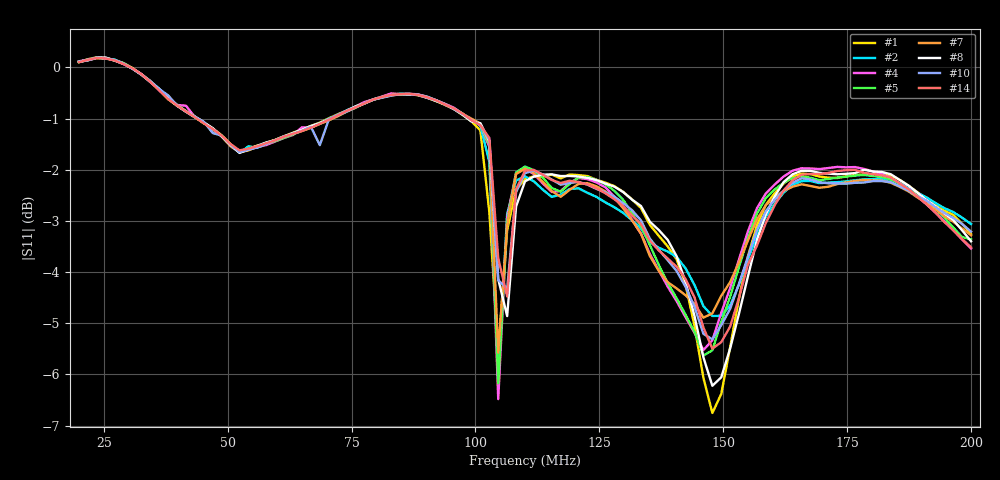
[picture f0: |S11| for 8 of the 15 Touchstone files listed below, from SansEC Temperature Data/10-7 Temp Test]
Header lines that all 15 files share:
# HZ S RI R 50
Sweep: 20 MHz to 200 MHz
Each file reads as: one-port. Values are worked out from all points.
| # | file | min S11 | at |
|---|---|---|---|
| 1 | 71.6C.s1p | -6.8 dB | 147.8 MHz |
| 2 | 72.75C.s1p | -6.1 dB | 104.6 MHz |
| 3 | 73.5C.s1p | -7.1 dB | 104.6 MHz |
| 4 | 75.1C.s1p | -6.5 dB | 104.6 MHz |
| 5 | 76.55C.s1p | -6.2 dB | 104.6 MHz |
| 6 | 77.45C.s1p | -5.9 dB | 104.6 MHz |
| 7 | 78.15C.s1p | -5.6 dB | 104.6 MHz |
| 8 | 78.95C.s1p | -6.2 dB | 147.8 MHz |
| 9 | 79.9C.s1p | -5.8 dB | 147.8 MHz |
| 10 | 80.55C.s1p | -5.3 dB | 147.8 MHz |
| 11 | 81.8C.s1p | -4.9 dB | 146 MHz |
| 12 | 81.25C.s1p | -4.9 dB | 146 MHz |
| 13 | 83.05C.s1p | -5.3 dB | 147.8 MHz |
| 14 | 84.9C.s1p | -5.5 dB | 147.8 MHz |
| 15 | 84.15C.s1p | -5.3 dB | 147.8 MHz |
